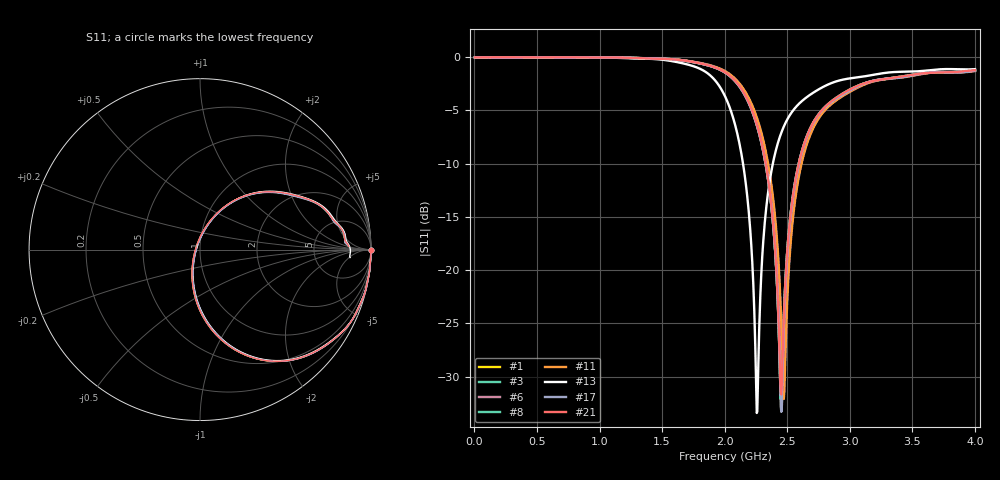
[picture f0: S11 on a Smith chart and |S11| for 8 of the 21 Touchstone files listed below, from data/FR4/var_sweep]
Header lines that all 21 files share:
! TOUCHSTONE file generated by CST MICROWAVE STUDIO
! Project name: ant1_ceramic_sweep_fr4.cst
! Header version: 2018
! Port assignment regex: !\s*Touchstone port\s*([0-9]+)\s*=\s*(CST MWS port|CST DS port)\s*([0-9]+|Zmin|Zmax)\s*\(\"(.*)\"\)(\s*mode\s*([0-9]+))?.*
! Touchstone port assignment:
! Touchstone port 1 = CST MWS port 1 ("")
# GHz S DB R 50
Fixed: e = 0.035, h = 1.6, wl = 1.7
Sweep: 4 MHz to 4 GHz
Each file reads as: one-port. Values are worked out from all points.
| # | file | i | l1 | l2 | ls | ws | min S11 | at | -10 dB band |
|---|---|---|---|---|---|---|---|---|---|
| 1 | ant1_fr4_sweep_1.s1p | 0.8 | 0.5 | 20.96 | 80 | 30 | -32.2 dB | 2.452 GHz | 264.6 MHz wide |
| 2 | ant1_fr4_sweep_2.s1p | 0.72 | 0.5 | 20.96 | 80 | 30 | -31.9 dB | 2.448 GHz | 259.8 MHz wide |
| 3 | ant1_fr4_sweep_3.s1p | 0.792 | 0.5 | 20.96 | 80 | 30 | -32.2 dB | 2.452 GHz | 264.2 MHz wide |
| 4 | ant1_fr4_sweep_4.s1p | 0.808 | 0.5 | 20.96 | 80 | 30 | -32.2 dB | 2.452 GHz | 265.1 MHz wide |
| 5 | ant1_fr4_sweep_5.s1p | 0.88 | 0.5 | 20.96 | 80 | 30 | -32.6 dB | 2.452 GHz | 269 MHz wide |
| 6 | ant1_fr4_sweep_6.s1p | 0.8 | 0.45 | 20.96 | 80 | 30 | -32.8 dB | 2.456 GHz | 264.4 MHz wide |
| 7 | ant1_fr4_sweep_7.s1p | 0.8 | 0.495 | 20.96 | 80 | 30 | -32.3 dB | 2.452 GHz | 264.7 MHz wide |
| 8 | ant1_fr4_sweep_8.s1p | 0.8 | 0.505 | 20.96 | 80 | 30 | -32.1 dB | 2.448 GHz | 264.6 MHz wide |
| 9 | ant1_fr4_sweep_9.s1p | 0.8 | 0.55 | 20.96 | 80 | 30 | -31.6 dB | 2.448 GHz | 264.2 MHz wide |
| 10 | ant1_fr4_sweep_10.s1p | 0.8 | 0.5 | 18.864 | 80 | 30 | -30.8 dB | 2.68 GHz | 296.8 MHz wide |
| 11 | ant1_fr4_sweep_11.s1p | 0.8 | 0.5 | 20.7504 | 80 | 30 | -32.1 dB | 2.472 GHz | 267 MHz wide |
| 12 | ant1_fr4_sweep_12.s1p | 0.8 | 0.5 | 21.1696 | 80 | 30 | -32.3 dB | 2.428 GHz | 261.7 MHz wide |
| 13 | ant1_fr4_sweep_13.s1p | 0.8 | 0.5 | 23.056 | 80 | 30 | -33.4 dB | 2.256 GHz | 238 MHz wide |
| 14 | ant1_fr4_sweep_14.s1p | 0.8 | 0.5 | 20.96 | 72 | 30 | -30.8 dB | 2.448 GHz | 262.7 MHz wide |
| 15 | ant1_fr4_sweep_15.s1p | 0.8 | 0.5 | 20.96 | 79.2 | 30 | -32.1 dB | 2.452 GHz | 264.4 MHz wide |
| 16 | ant1_fr4_sweep_16.s1p | 0.8 | 0.5 | 20.96 | 80.8 | 30 | -32.3 dB | 2.452 GHz | 264.7 MHz wide |
| 17 | ant1_fr4_sweep_17.s1p | 0.8 | 0.5 | 20.96 | 88 | 30 | -33.3 dB | 2.452 GHz | 266.6 MHz wide |
| 18 | ant1_fr4_sweep_18.s1p | 0.8 | 0.5 | 20.96 | 80 | 27 | -32.6 dB | 2.452 GHz | 265.1 MHz wide |
| 19 | ant1_fr4_sweep_19.s1p | 0.8 | 0.5 | 20.96 | 80 | 29.7 | -32.2 dB | 2.452 GHz | 264.6 MHz wide |
| 20 | ant1_fr4_sweep_20.s1p | 0.8 | 0.5 | 20.96 | 80 | 30.3 | -32.1 dB | 2.452 GHz | 264.5 MHz wide |
| 21 | ant1_fr4_sweep_21.s1p | 0.8 | 0.5 | 20.96 | 80 | 33 | -31.7 dB | 2.452 GHz | 263.8 MHz wide |
